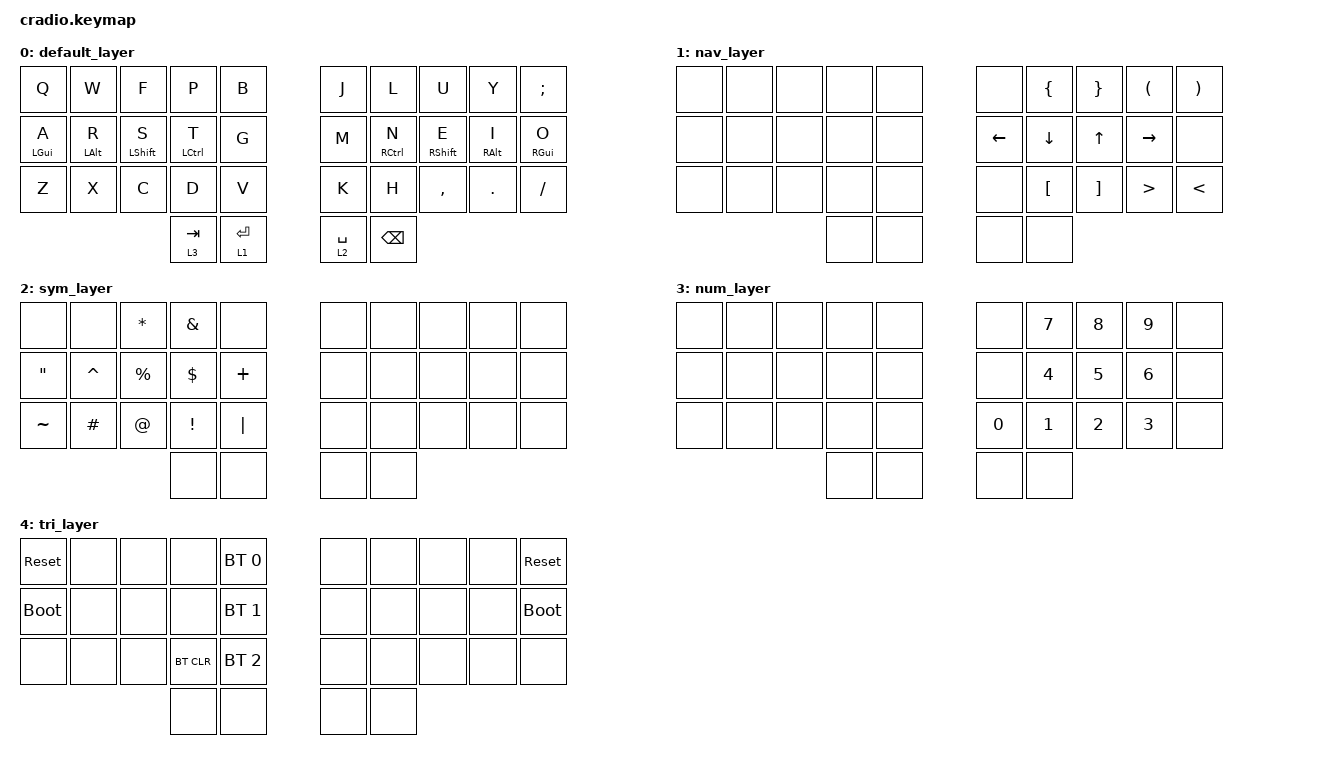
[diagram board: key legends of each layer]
#include <behaviors.dtsi>
#include <dt-bindings/zmk/bt.h>
#include <dt-bindings/zmk/keys.h>

/ {
    behaviors {
        ht: hold_tap {
            compatible = "zmk,behavior-hold-tap";
            label = "hold_tap";
            #binding-cells = <2>;
            tapping-term-ms = <220>;
            quick-tap-ms = <150>;
            bindings =
                <&kp>,
                <&kp>;

            flavor = "tap-preferred";
            global-quick-tap;
        };
        hmr: homerow_mods_right {
            compatible = "zmk,behavior-hold-tap";
            label = "HOMEROW_MODS_RIGHT_HAND";
            bindings =
                <&kp>,
                <&kp>;

            #binding-cells = <2>;
            tapping-term-ms = <200>;
            hold-trigger-key-positions = <0 1 2 3 4 10 11 12 13 14 20 21 22 23 24 30 31>;
        };
        hml: homerow_mods_left {
            compatible = "zmk,behavior-hold-tap";
            label = "HOMEROW_MODS_LEFT";
            bindings =
                <&kp>,
                <&kp>;

            #binding-cells = <2>;
            tapping-term-ms = <200>;
            hold-trigger-key-positions = <5 6 7 8 9 15 16 17 18 19 25 26 27 28 29 32 33>;
        };
    };

    combos {
        compatible = "zmk,combos";

        esc {
            bindings = <&kp ESCAPE>;
            key-positions = <10 19>;
            layers = <0>;
        };

        minus {
            bindings = <&kp MINUS>;
            key-positions = <3 6>;
            layers = <0>;
        };

        underscore {
            bindings = <&kp UNDERSCORE>;
            key-positions = <23 26>;
            layers = <0>;
        };

        capsword {
            bindings = <&caps_word>;
            key-positions = <20 29>;
            layers = <0>;
        };
    };

    keymap {
        compatible = "zmk,keymap";

        default_layer {
            bindings = <
&kp Q            &kp W            &kp F              &kp P         &kp B          &kp J        &kp L         &kp U               &kp Y             &kp SEMI
&hml LEFT_GUI A  &hml LEFT_ALT R  &hml LEFT_SHIFT S  &hml LCTRL T  &kp G          &kp M        &hmr RCTRL N  &hmr RIGHT_SHIFT E  &hmr RIGHT_ALT I  &hmr RIGHT_GUI O
&kp Z            &kp X            &kp C              &kp D         &kp V          &kp K        &kp H         &kp COMMA           &kp DOT           &kp FSLH
                                                     &lt 3 TAB     &lt 1 ENTER    &lt 2 SPACE  &kp BSPC
            >;
        };

        nav_layer {
            bindings = <
&none  &none  &none  &none  &none    &none           &kp LBRC          &kp RIGHT_BRACE    &kp LEFT_PARENTHESIS  &kp RIGHT_PARENTHESIS
&none  &none  &none  &none  &none    &kp LEFT_ARROW  &kp DOWN_ARROW    &kp UP_ARROW       &kp RIGHT             &none
&none  &none  &none  &none  &none    &none           &kp LEFT_BRACKET  &kp RIGHT_BRACKET  &kp GREATER_THAN      &kp LESS_THAN
                     &none  &none    &none           &none
            >;
        };

        sym_layer {
            bindings = <
&none              &none      &kp ASTERISK  &kp AMPERSAND    &none       &none  &none  &none  &none  &none
&kp DOUBLE_QUOTES  &kp CARET  &kp PERCENT   &kp DOLLAR       &kp PLUS    &none  &none  &none  &none  &none
&kp TILDE          &kp HASH   &kp AT_SIGN   &kp EXCLAMATION  &kp PIPE    &none  &none  &none  &none  &none
                                            &none            &none       &none  &none
            >;
        };

        num_layer {
            bindings = <
&none  &none  &none  &none  &none    &none   &kp N7  &kp N8  &kp N9  &none
&none  &none  &none  &none  &none    &none   &kp N4  &kp N5  &kp N6  &none
&none  &none  &none  &none  &none    &kp N0  &kp N1  &kp N2  &kp N3  &none
                     &none  &none    &none   &none
            >;
        };

        tri_layer {
            bindings = <
&sys_reset   &none  &none  &none       &bt BT_SEL 0    &none  &none  &none  &none  &sys_reset
&bootloader  &none  &none  &none       &bt BT_SEL 1    &none  &none  &none  &none  &bootloader
&none        &none  &none  &bt BT_CLR  &bt BT_SEL 2    &none  &none  &none  &none  &none
                           &none       &none           &none  &none
            >;
        };
    };

    conditional_layers {
        compatible = "zmk,conditional-layers";

        tri_layer {
            if-layers = <1 2>;
            then-layer = <4>;
        };
    };
};
